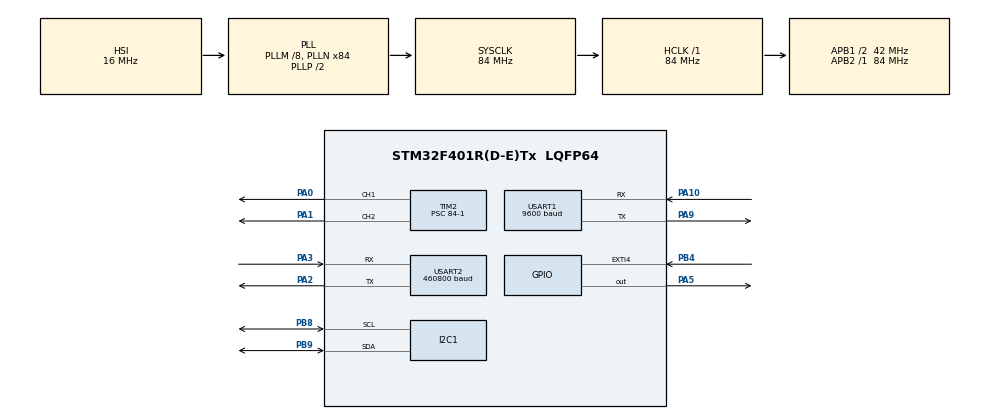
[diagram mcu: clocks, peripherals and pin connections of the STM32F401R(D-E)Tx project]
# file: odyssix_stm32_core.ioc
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Dma.Request0=USART1_RX
Dma.Request1=USART1_TX
Dma.Request2=USART2_RX
Dma.USART1_RX.0.Direction=DMA_PERIPH_TO_MEMORY
Dma.USART1_RX.0.FIFOMode=DMA_FIFOMODE_DISABLE
Dma.USART1_RX.0.Instance=DMA2_Stream2
Dma.USART1_RX.0.MemDataAlignment=DMA_MDATAALIGN_BYTE
Dma.USART1_RX.0.MemInc=DMA_MINC_ENABLE
Dma.USART1_RX.0.Mode=DMA_CIRCULAR
Dma.USART1_RX.0.PeriphDataAlignment=DMA_PDATAALIGN_BYTE
Dma.USART1_RX.0.PeriphInc=DMA_PINC_DISABLE
Dma.USART1_RX.0.Priority=DMA_PRIORITY_LOW
Dma.USART1_TX.1.Direction=DMA_MEMORY_TO_PERIPH
Dma.USART1_TX.1.FIFOMode=DMA_FIFOMODE_DISABLE
Dma.USART1_TX.1.Instance=DMA2_Stream7
Dma.USART1_TX.1.MemDataAlignment=DMA_MDATAALIGN_BYTE
Dma.USART1_TX.1.MemInc=DMA_MINC_ENABLE
Dma.USART1_TX.1.Mode=DMA_NORMAL
Dma.USART1_TX.1.PeriphDataAlignment=DMA_PDATAALIGN_BYTE
Dma.USART1_TX.1.PeriphInc=DMA_PINC_DISABLE
Dma.USART1_TX.1.Priority=DMA_PRIORITY_LOW
Dma.USART2_RX.2.Direction=DMA_PERIPH_TO_MEMORY
Dma.USART2_RX.2.FIFOMode=DMA_FIFOMODE_DISABLE
Dma.USART2_RX.2.Instance=DMA1_Stream5
Dma.USART2_RX.2.MemDataAlignment=DMA_MDATAALIGN_BYTE
Dma.USART2_RX.2.MemInc=DMA_MINC_ENABLE
Dma.USART2_RX.2.Mode=DMA_CIRCULAR
Dma.USART2_RX.2.PeriphDataAlignment=DMA_PDATAALIGN_BYTE
Dma.USART2_RX.2.PeriphInc=DMA_PINC_DISABLE
Dma.USART2_RX.2.Priority=DMA_PRIORITY_LOW
FREERTOS.Tasks01=microROSTask,24,3000,StartDefaultTask,Default,NULL,Dynamic,NULL,NULL
FREERTOS.configTOTAL_HEAP_SIZE=32000
I2C1.I2C_Mode=I2C_Fast
Mcu.Family=STM32F4
Mcu.Name=STM32F401R(D-E)Tx
Mcu.Package=LQFP64
NVIC.DMA1_Stream5_IRQn=true\:5\:0\:false\:false\:true\:true\:false\:true\:true
NVIC.DMA2_Stream2_IRQn=true\:5\:0\:false\:false\:true\:true\:false\:true\:true
NVIC.DMA2_Stream7_IRQn=true\:5\:0\:false\:false\:true\:true\:false\:true\:true
NVIC.EXTI4_IRQn=true\:5\:0\:false\:false\:true\:true\:true\:true\:true
NVIC.PriorityGroup=NVIC_PRIORITYGROUP_4
NVIC.TIM1_UP_TIM10_IRQn=true\:15\:0\:false\:false\:true\:false\:false\:true\:true
NVIC.TimeBase=TIM1_UP_TIM10_IRQn
NVIC.TimeBaseIP=TIM1
NVIC.USART1_IRQn=true\:5\:0\:false\:false\:true\:true\:true\:true\:true
NVIC.USART2_IRQn=true\:5\:0\:false\:false\:true\:true\:true\:true\:true
PA0-WKUP.Signal=S_TIM2_CH1_ETR
PA1.Signal=S_TIM2_CH2
PA10.Mode=Asynchronous
PA10.Signal=USART1_RX
PA2.Mode=Asynchronous
PA2.Signal=USART2_TX
PA3.Mode=Asynchronous
PA3.Signal=USART2_RX
PA5.Signal=GPIO_Output
PA9.Mode=Asynchronous
PA9.Signal=USART1_TX
PB4.GPIO_ModeDefaultEXTI=GPIO_MODE_IT_FALLING
PB4.GPIO_PuPd=GPIO_PULLUP
PB4.Signal=GPXTI4
PB8.Mode=I2C
PB8.Signal=I2C1_SCL
PB9.Mode=I2C
PB9.Signal=I2C1_SDA
ProjectManager.HeapSize=0x200
ProjectManager.StackSize=0x400
ProjectManager.TargetToolchain=STM32CubeIDE
RCC.48MHZClocksFreq_Value=42000000
RCC.AHBFreq_Value=84000000
RCC.APB1CLKDivider=RCC_HCLK_DIV2
RCC.APB1Freq_Value=42000000
RCC.APB1TimFreq_Value=84000000
RCC.APB2Freq_Value=84000000
RCC.APB2TimFreq_Value=84000000
RCC.CortexFreq_Value=84000000
RCC.HCLKFreq_Value=84000000
RCC.HSE_VALUE=25000000
RCC.HSI_VALUE=16000000
RCC.LSE_VALUE=32768
RCC.PLLM=8
RCC.PLLN=84
RCC.SYSCLKFreq_VALUE=84000000
RCC.SYSCLKSource=RCC_SYSCLKSOURCE_PLLCLK
RCC.VCOOutputFreq_Value=168000000
SH.S_TIM2_CH1_ETR.0=TIM2_CH1,PWM Generation1 CH1
SH.S_TIM2_CH2.0=TIM2_CH2,PWM Generation2 CH2
TIM2.Channel-PWM\ Generation1\ CH1=TIM_CHANNEL_1
TIM2.Channel-PWM\ Generation2\ CH2=TIM_CHANNEL_2
TIM2.Period=20000-1
TIM2.Prescaler=84-1
USART1.BaudRate=9600
USART1.VirtualMode=VM_ASYNC
USART2.BaudRate=460800
USART2.VirtualMode=VM_ASYNC
VP_FREERTOS_VS_CMSIS_V2.Mode=CMSIS_V2
VP_SYS_VS_tim1.Mode=TIM1
VP_TIM2_VS_ClockSourceINT.Mode=Internal
board=custom

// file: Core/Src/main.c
/* USER CODE BEGIN Header */
/**
  ******************************************************************************
  * @file           : main.c
  * @brief          : Main program body
  ******************************************************************************
  * @attention
  *
  * Copyright (c) 2026 STMicroelectronics.
  * All rights reserved.
  ******************************************************************************
  */
/* USER CODE END Header */
#include "main.h"
#include "cmsis_os.h"
#include "dma.h"
#include "i2c.h"
#include "tim.h"
#include "usart.h"
#include "gpio.h"

void SystemClock_Config(void);
void MX_FREERTOS_Init(void);

/* USER CODE BEGIN 0 */

/* Direct-register IWDG init / refresh.
 *
 * IWDG infrastructure is retained but DISABLED at boot — the call to
 * IWDG_Init_Direct() is intentionally commented out below. The watchdog
 * will be re-armed in a follow-up commit only after PA5 heartbeat AND
 * a successful XRCE-DDS handshake have been visually confirmed.
 *
 * IWDG_Refresh_Direct() is exported (not static) and called from
 * freertos.c. While IWDG is disabled, refresh writes to KR are
 * harmless no-ops — they only become live once IWDG_Init_Direct()
 * has issued the 0x5555 / 0xCCCC start sequence.
 *
 * Timing (LSI ~32 kHz nominal, ±10% across temperature):
 *   prescaler /32  ->  1 ms tick
 *   reload  2000   ->  2.0 s timeout
 */
#define IWDG_KEY_UNLOCK   0x5555u
#define IWDG_KEY_RELOAD   0xAAAAu
#define IWDG_KEY_START    0xCCCCu
#define IWDG_PR_DIV32     3u
#define IWDG_RLR_2000MS   2000u

__attribute__((unused))
static void IWDG_Init_Direct(void)
{
  IWDG->KR  = IWDG_KEY_UNLOCK;
  IWDG->PR  = IWDG_PR_DIV32;
  IWDG->RLR = IWDG_RLR_2000MS;
  while (IWDG->SR != 0u) { /* wait for prescaler/reload to latch */ }
  IWDG->KR  = IWDG_KEY_RELOAD;
  IWDG->KR  = IWDG_KEY_START;
}

void IWDG_Refresh_Direct(void)
{
  IWDG->KR = IWDG_KEY_RELOAD;
}

/* USER CODE END 0 */

int main(void)
{

  /* MCU Configuration--------------------------------------------------------*/

  /* Reset of all peripherals, Initializes the Flash interface and the Systick. */
  HAL_Init();

  /* Configure the system clock */
  SystemClock_Config();

  /* Initialize all configured peripherals */
  MX_GPIO_Init();
  MX_DMA_Init();
  MX_I2C1_Init();
  MX_TIM2_Init();
  MX_USART1_UART_Init();
  MX_USART2_UART_Init();
  /* USER CODE BEGIN 2 */

  /* IWDG INTENTIONALLY DISABLED at boot.
   * Re-arm by uncommenting the line below ONLY after on-bench verification
   * of (a) PA5 2 Hz heartbeat and (b) XRCE-DDS session establishment.
   *
   * IWDG_Init_Direct();
   */

  /* USER CODE END 2 */

  /* Init scheduler */
  osKernelInitialize();

  /* Call init function for freertos objects (in cmsis_os2.c) */
  MX_FREERTOS_Init();

  /* Start scheduler */
  osKernelStart();

  /* We should never get here as control is now taken by the scheduler */

  /* Infinite loop */
  while (1)
  {

  }
}

void SystemClock_Config(void)
{
  RCC_OscInitTypeDef RCC_OscInitStruct = {0};
  RCC_ClkInitTypeDef RCC_ClkInitStruct = {0};

  /** Configure the main internal regulator output voltage
  */
  __HAL_RCC_PWR_CLK_ENABLE();
  __HAL_PWR_VOLTAGESCALING_CONFIG(PWR_REGULATOR_VOLTAGE_SCALE2);

  /** Initializes the RCC Oscillators according to the specified parameters
  * in the RCC_OscInitTypeDef structure.
  */
  RCC_OscInitStruct.OscillatorType = RCC_OSCILLATORTYPE_HSI;
  RCC_OscInitStruct.HSIState = RCC_HSI_ON;
  RCC_OscInitStruct.HSICalibrationValue = RCC_HSICALIBRATION_DEFAULT;
  RCC_OscInitStruct.PLL.PLLState = RCC_PLL_ON;
  RCC_OscInitStruct.PLL.PLLSource = RCC_PLLSOURCE_HSI;
  RCC_OscInitStruct.PLL.PLLM = 8;
  RCC_OscInitStruct.PLL.PLLN = 84;
  RCC_OscInitStruct.PLL.PLLP = RCC_PLLP_DIV2;
  RCC_OscInitStruct.PLL.PLLQ = 4;
  if (HAL_RCC_OscConfig(&RCC_OscInitStruct) != HAL_OK)
  {
    Error_Handler();
  }

  /** Initializes the CPU, AHB and APB buses clocks
  */
  RCC_ClkInitStruct.ClockType = RCC_CLOCKTYPE_HCLK|RCC_CLOCKTYPE_SYSCLK
                              |RCC_CLOCKTYPE_PCLK1|RCC_CLOCKTYPE_PCLK2;
  RCC_ClkInitStruct.SYSCLKSource = RCC_SYSCLKSOURCE_PLLCLK;
  RCC_ClkInitStruct.AHBCLKDivider = RCC_SYSCLK_DIV1;
  RCC_ClkInitStruct.APB1CLKDivider = RCC_HCLK_DIV2;
  RCC_ClkInitStruct.APB2CLKDivider = RCC_HCLK_DIV1;

  if (HAL_RCC_ClockConfig(&RCC_ClkInitStruct, FLASH_LATENCY_2) != HAL_OK)
  {
    Error_Handler();
  }
}

void HAL_TIM_PeriodElapsedCallback(TIM_HandleTypeDef *htim)
{
  if (htim->Instance == TIM1) {
    HAL_IncTick();
  }
}

void Error_Handler(void)
{
  __disable_irq();
  while (1)
  {
  }
}

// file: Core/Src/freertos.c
/* USER CODE BEGIN Header */
/**
  ******************************************************************************
  * File Name          : freertos.c
  * Description        : Code for freertos applications
  ******************************************************************************
  */
/* USER CODE END Header */

#include "FreeRTOS.h"
#include "task.h"
#include "main.h"
#include "cmsis_os.h"

/* USER CODE BEGIN Includes */
#include <rcl/rcl.h>
#include <rcl/error_handling.h>
#include <rclc/rclc.h>
#include <rclc/executor.h>
#include <uxr/client/transport.h>
#include <rmw_microxrcedds_c/config.h>
#include <rmw_microros/rmw_microros.h>
#include <sensor_msgs/msg/imu.h>
#include <bfmc_msgs/msg/control_command.h>
#include <rosidl_runtime_c/string_functions.h>

#include <string.h>
#include <math.h>

#include "usart.h"
#include "i2c.h"
#include "tim.h"
#include "bno085.h"
/* USER CODE END Includes */

/* USER CODE BEGIN Variables */
static BNO085_Handle_t bno085;
static bfmc_msgs__msg__ControlCommand target_cmd;
static volatile int64_t last_cmd_time_ns = 0;
/* USER CODE END Variables */
/* Definitions for microROSTask */
osThreadId_t microROSTaskHandle;
const osThreadAttr_t microROSTask_attributes = {
  .name = "microROSTask",
  .stack_size = 3000 * 4,
  .priority = (osPriority_t) osPriorityNormal,
};

/* USER CODE BEGIN FunctionPrototypes */
bool   cubemx_transport_open(struct uxrCustomTransport *transport);
bool   cubemx_transport_close(struct uxrCustomTransport *transport);
size_t cubemx_transport_write(struct uxrCustomTransport *transport, const uint8_t *buf, size_t len, uint8_t *err);
size_t cubemx_transport_read(struct uxrCustomTransport *transport, uint8_t *buf, size_t len, int timeout, uint8_t *err);

void *microros_allocate(size_t size, void *state);
void  microros_deallocate(void *pointer, void *state);
void *microros_reallocate(void *pointer, size_t size, void *state);
void *microros_zero_allocate(size_t number_of_elements, size_t size_of_element, void *state);

static void control_cmd_callback(const void *msgin);

static uint32_t steer_angle_to_pwm(float angle_rad)
{
  int32_t pwm = 1500 - (int32_t)(angle_rad * 1000.0f);
  if (pwm < 1000) pwm = 1000;
  if (pwm > 2000) pwm = 2000;
  return (uint32_t)pwm;
}
/* USER CODE END FunctionPrototypes */

void StartDefaultTask(void *argument);

void MX_FREERTOS_Init(void); /* (MISRA C 2004 rule 8.1) */

void MX_FREERTOS_Init(void) {

  /* Create the thread(s) */
  microROSTaskHandle = osThreadNew(StartDefaultTask, NULL, &microROSTask_attributes);

}

void StartDefaultTask(void *argument)
{
  /* USER CODE BEGIN StartDefaultTask */
  (void)argument;

  /* -------------------------------------------------------------- */
  /* 1. Initialize sensors BEFORE micro-ROS to prevent session
   *    timeout while the BNO085 settles. Golden baseline order.
   * -------------------------------------------------------------- */
  BNO085_Init(&bno085, &hi2c1);
  /* ROTATION_VECTOR (0x05): 9-DoF fusion (accel + gyro + magnetometer).
   * Provides an absolute heading reference and per-frame accuracy
   * estimate (Q12 radians). The Jetson autonomy stack expects this on
   * /microros/imu_raw; do NOT swap back to GRV without coordinating
   * with the EKF/vision yaw weights on the Jetson side.
   *
   * 14-B payload per report — still fits inside the 128-B SHTP cargo
   * with accel + gyro batched. The 0x05 branch in BNO085_ParseInputReport
   * extracts the accuracy field. */
  BNO085_EnableReport(&bno085, BNO085_REPORT_ROTATION_VECTOR, 10000);
  osDelay(10);
  BNO085_EnableReport(&bno085, BNO085_REPORT_ACCELEROMETER,   10000);
  osDelay(10);
  BNO085_EnableReport(&bno085, BNO085_REPORT_GYROSCOPE,       10000);
  osDelay(10);

  /* URM37 purge (controlled): driver source absent, hardware DMA
   * remains initialized in usart.c but never started. No runtime cost. */

  /* -------------------------------------------------------------- */
  /* 2. Setup UART transport (it_transport.c).                      */
  /* -------------------------------------------------------------- */
  rmw_uros_set_custom_transport(true, (void *) &huart2,
                                cubemx_transport_open,
                                cubemx_transport_close,
                                cubemx_transport_write,
                                cubemx_transport_read);

  /* -------------------------------------------------------------- */
  /* 3. FreeRTOS-backed micro-ROS allocator.                        */
  /* -------------------------------------------------------------- */
  rcl_allocator_t freeRTOS_allocator = rcutils_get_zero_initialized_allocator();
  freeRTOS_allocator.allocate      = microros_allocate;
  freeRTOS_allocator.deallocate    = microros_deallocate;
  freeRTOS_allocator.reallocate    = microros_reallocate;
  freeRTOS_allocator.zero_allocate = microros_zero_allocate;

  if (!rcutils_set_default_allocator(&freeRTOS_allocator)) {
    osDelay(1000); NVIC_SystemReset();
  }

  /* -------------------------------------------------------------- */
  /* 4. Patient handshake.                                           */
  /* -------------------------------------------------------------- */
  while (rmw_uros_ping_agent(100, 1) != RMW_RET_OK) {
    osDelay(100);
  }

  rmw_uros_sync_session(1000);

  /* -------------------------------------------------------------- */
  /* 5. micro-ROS entity construction.                              */
  /* -------------------------------------------------------------- */
  rcl_publisher_t       imu_publisher;
  rcl_subscription_t    cmd_subscriber;
  sensor_msgs__msg__Imu imu_msg;
  rclc_support_t        support;
  rcl_allocator_t       allocator;
  rcl_node_t            node;
  rclc_executor_t       executor;

  allocator = rcl_get_default_allocator();

  rcl_init_options_t init_options = rcl_get_zero_initialized_init_options();
  rcl_init_options_init(&init_options, allocator);
  rcl_init_options_set_domain_id(&init_options, 42);

  if (rclc_support_init_with_options(&support, 0, NULL, &init_options, &allocator) != RCL_RET_OK) {
    osDelay(1000); NVIC_SystemReset();
  }

  if (rclc_node_init_default(&node, "odyssix_imu_node", "", &support) != RCL_RET_OK) {
    osDelay(1000); NVIC_SystemReset();
  }

  if (rclc_publisher_init_default(
        &imu_publisher, &node,
        ROSIDL_GET_MSG_TYPE_SUPPORT(sensor_msgs, msg, Imu),
        "/microros/imu_raw") != RCL_RET_OK) {
    osDelay(1000); NVIC_SystemReset();
  }

  if (rclc_executor_init(&executor, &support.context, 1, &allocator) != RCL_RET_OK) {
    osDelay(1000); NVIC_SystemReset();
  }

  if (rclc_subscription_init_default(
        &cmd_subscriber, &node,
        ROSIDL_GET_MSG_TYPE_SUPPORT(bfmc_msgs, msg, ControlCommand),
        "/control/command") != RCL_RET_OK) {
    osDelay(1000); NVIC_SystemReset();
  }

  bfmc_msgs__msg__ControlCommand__init(&target_cmd);

  if (rclc_executor_add_subscription(
        &executor, &cmd_subscriber, &target_cmd,
        &control_cmd_callback, ON_NEW_DATA) != RCL_RET_OK) {
    osDelay(1000); NVIC_SystemReset();
  }

  HAL_TIM_PWM_Start(&htim2, TIM_CHANNEL_1);
  HAL_TIM_PWM_Start(&htim2, TIM_CHANNEL_2);

  /* Park ESC and steering at neutral until first command arrives. */
  TIM2->CCR1 = 1500u;
  TIM2->CCR2 = 1500u;

  /* -------------------------------------------------------------- */
  /* 6. ROS 2 message structures.                                   */
  /* -------------------------------------------------------------- */
  sensor_msgs__msg__Imu__init(&imu_msg);
  rosidl_runtime_c__String__assign(&imu_msg.header.frame_id, "imu_link");

  /* Diagonal covariance — tuned for BNO085 fused outputs against a
   * robot_localization EKF. Indices 0/4/8 are the (i,i) diagonal of
   * the row-major 3x3 flattened to 9 elements. Off-diagonals stay
   * zero (no cross-axis correlation assumption). */
  memset(imu_msg.orientation_covariance,         0, sizeof(imu_msg.orientation_covariance));
  memset(imu_msg.angular_velocity_covariance,    0, sizeof(imu_msg.angular_velocity_covariance));
  memset(imu_msg.linear_acceleration_covariance, 0, sizeof(imu_msg.linear_acceleration_covariance));

  /* Roll/pitch stay tight (accel-gravity reference anchors them on the
   * Rotation Vector). Yaw is bumped to reflect the magnetometer-aided
   * Rotation Vector's residual drift under indoor magnetic disturbance
   * and BLDC vibration. The Jetson-side vision pipeline corrects yaw
   * via lane/sign/intersection relocalization; the looser covariance
   * lets robot_localization weight visual yaw appropriately. */
  imu_msg.orientation_covariance[0]         = 0.001;     /* roll  (rad^2) */
  imu_msg.orientation_covariance[4]         = 0.001;     /* pitch (rad^2) */
  imu_msg.orientation_covariance[8]         = 0.01;      /* yaw   (rad^2, RV residual drift) */

  imu_msg.angular_velocity_covariance[0]    = 2.19e-6;   /* (rad/s)^2 */
  imu_msg.angular_velocity_covariance[4]    = 2.19e-6;
  imu_msg.angular_velocity_covariance[8]    = 2.19e-6;

  imu_msg.linear_acceleration_covariance[0] = 0.004;     /* (m/s^2)^2 */
  imu_msg.linear_acceleration_covariance[4] = 0.004;
  imu_msg.linear_acceleration_covariance[8] = 0.004;

  /* Identity-quaternion default so the FIRST publish carries a sane
   * orientation even before the BNO085 sends its first packet. */
  imu_msg.orientation.x = 0.0; imu_msg.orientation.y = 0.0;
  imu_msg.orientation.z = 0.0; imu_msg.orientation.w = 1.0;

  /* -------------------------------------------------------------- */
  /* 6b. Power-up zeroing — 2 s blocking.                            */
  /*                                                                  */
  /* Runs AFTER micro-ROS sync (so the XRCE session is alive) and    */
  /* BEFORE the while(1) (so the first publish already carries the   */
  /* zeroed frame). Vehicle is parked at PWM neutral throughout, and */
  /* the deadman is still latched at last_cmd_time_ns == 0.          */
  /*                                                                  */
  /* The mean accel offset includes gravity, by design: we want the  */
  /* publish frame to read [0,0,0] at rest. The Jetson EKF tuning    */
  /* assumes this — do NOT switch the accel report to LINEAR_ACCEL   */
  /* without also retuning the offset semantics on the Jetson side.  */
  /* -------------------------------------------------------------- */
  BNO085_PerformStartupCalibration(&bno085);

  /* -------------------------------------------------------------- */
  /* 7. Main loop — golden topology.                                 */
  /* -------------------------------------------------------------- */
  for (;;)
  {
    static uint32_t sync_tick     = 0u;
    static uint32_t imu_err_count = 0u;
    static uint32_t led_tick      = 0u;

    /* Executor stays at fast cadence (~1 kHz) — IMU publish does NOT. */
    rclc_executor_spin_some(&executor, 0);

    /* Continuous clock re-sync every ~1 s (1000 loop iterations). */
    if (++sync_tick >= 1000u) {
      sync_tick = 0u;
      rmw_uros_sync_session(10);
    }

    int64_t time_ns = rmw_uros_epoch_nanos();

    /* ---------------------------------------------------------------- *
     * Race-condition-free SHTP read gate.                              *
     * ---------------------------------------------------------------- *
     * The BNO085 INTN pin is open-drain active-LOW. If a new packet    *
     * becomes ready while I2C is in the middle of reading the previous *
     * one, INTN remains LOW continuously — and the falling-edge EXTI   *
     * generates NO additional edge for the second packet. A flag-only  *
     * gate would then stall this loop until something else trips the   *
     * line, halting IMU output entirely.                               *
     *                                                                  *
     * The fix is a two-condition trigger:                              *
     *   - flag set  → an edge fired since last service                 *
     *   - pin LOW   → a packet is physically pending right now,        *
     *                 even if no fresh edge fired                      *
     *                                                                  *
     * The flag is cleared IMMEDIATELY BEFORE BNO085_GetData so any     *
     * mid-read re-assert produces a brand-new falling edge that the    *
     * ISR latches for the very next loop tick. This guarantees         *
     * continuous 100 Hz acquisition.                                   *
     * ---------------------------------------------------------------- */
    if (bno085_int_flag ||
        HAL_GPIO_ReadPin(GPIOB, GPIO_PIN_4) == GPIO_PIN_RESET) {
      bno085_int_flag = false;   /* clear BEFORE the read */

      HAL_StatusTypeDef imu_status = BNO085_GetData(&bno085);
      if (imu_status == HAL_OK) {
        imu_err_count = 0u;
      } else if (++imu_err_count >= 50u) {
        imu_err_count = 0u;
        /* Auto-recovery: re-init and re-enable the same 9-DoF config.
         * Calibration is NOT re-run — the original power-up offsets stay
         * authoritative. Re-zeroing mid-run would let post-recovery
         * tilt/orientation leak into the published frame. */
        BNO085_Init(&bno085, &hi2c1);
        BNO085_EnableReport(&bno085, BNO085_REPORT_ROTATION_VECTOR, 10000);
        BNO085_EnableReport(&bno085, BNO085_REPORT_ACCELEROMETER,   10000);
        BNO085_EnableReport(&bno085, BNO085_REPORT_GYROSCOPE,       10000);
        bno085_int_flag = false;
      }
    }

    /* ---------------------------------------------------------------- *
     * Hardware-readiness publish gate — software rate limiter removed. *
     * ---------------------------------------------------------------- *
     * data_valid is the single source of truth: set TRUE by the SH-2   *
     * parser when a fresh batch is decoded, cleared FALSE here after   *
     * publishing. The BNO085 itself paces the loop at its configured   *
     * 100 Hz report rate; layering a software 10 ms gate on top caused *
     * packet loss whenever sensor jitter pushed two reports into one   *
     * tick window and forced one to be dropped. The unified gate also  *
     * removes the negative-epoch rollback branch — there is no longer  *
     * any time arithmetic that could turn negative.                    *
     * ---------------------------------------------------------------- */
    if (bno085.data.data_valid) {
      imu_msg.header.stamp.sec     = (int32_t)(time_ns / 1000000000LL);
      imu_msg.header.stamp.nanosec = (uint32_t)(time_ns % 1000000000LL);

      /* --- Hot-path zeroing: all heavy work (mean, conjugate) was paid
       * for once in BNO085_PerformStartupCalibration. If calibration was
       * skipped or failed, calib.offsets are zero and the baseline
       * quaternion inverse is identity, so this block reduces to a
       * pass-through. */
      float q_pub_i, q_pub_j, q_pub_k, q_pub_r;
      BNO085_QuatMultiply(
        bno085.calib.baseline_quat_inv_i,
        bno085.calib.baseline_quat_inv_j,
        bno085.calib.baseline_quat_inv_k,
        bno085.calib.baseline_quat_inv_real,
        bno085.data.quat_i,
        bno085.data.quat_j,
        bno085.data.quat_k,
        bno085.data.quat_real,
        &q_pub_i, &q_pub_j, &q_pub_k, &q_pub_r);

      /* ---------------------------------------------------------------- *
       * Enforce unit-norm before publish.                                *
       * ---------------------------------------------------------------- *
       * 32-bit float Hamilton products accumulate ~1e-7 per multiply, so *
       * the output magnitude drifts a few ULPs off 1.0. Even w = 1.0 +   *
       * 2e-7 makes the Jetson EKF's acos(w) return NaN, which cascades   *
       * through the whole filter. Normalize defensively. Single sqrtf +  *
       * four multiplies; the FPU eats this in ~12 cycles. The 1e-6 floor *
       * is a NaN guard in case both inputs degenerate to zero (e.g. an   *
       * un-calibrated frame against an identity baseline_inv at boot).   *
       * ---------------------------------------------------------------- */
      float q_mag = sqrtf(q_pub_i * q_pub_i +
                          q_pub_j * q_pub_j +
                          q_pub_k * q_pub_k +
                          q_pub_r * q_pub_r);
      if (q_mag > 0.000001f) {
        float inv_mag = 1.0f / q_mag;
        q_pub_i *= inv_mag;
        q_pub_j *= inv_mag;
        q_pub_k *= inv_mag;
        q_pub_r *= inv_mag;
      }

      imu_msg.orientation.x = (double)q_pub_i;
      imu_msg.orientation.y = (double)q_pub_j;
      imu_msg.orientation.z = (double)q_pub_k;
      imu_msg.orientation.w = (double)q_pub_r;

      imu_msg.linear_acceleration.x = (double)(bno085.data.lin_accel_x - bno085.calib.offset_accel_x);
      imu_msg.linear_acceleration.y = (double)(bno085.data.lin_accel_y - bno085.calib.offset_accel_y);
      /* offset_accel_z is zeroed in BNO085_PerformStartupCalibration, so
       * this subtract leaves gravity (~9.81 m/s²) intact for the EKF. */
      imu_msg.linear_acceleration.z = (double)(bno085.data.lin_accel_z - bno085.calib.offset_accel_z);

      imu_msg.angular_velocity.x = (double)(bno085.data.gyro_x - bno085.calib.offset_gyro_x);
      imu_msg.angular_velocity.y = (double)(bno085.data.gyro_y - bno085.calib.offset_gyro_y);
      imu_msg.angular_velocity.z = (double)(bno085.data.gyro_z - bno085.calib.offset_gyro_z);

      (void)rcl_publish(&imu_publisher, &imu_msg, NULL);

      bno085.data.data_valid = false;   /* consume the frame */
    }

    /* PA5 heartbeat — golden cadence: every 50 ticks @ osDelay(1) = 10 Hz LED. */
    if (++led_tick >= 50u) {
      led_tick = 0u;
      HAL_GPIO_TogglePin(GPIOA, GPIO_PIN_5);
    }

    /* Actuation: deadman + PWM drive. 500 ms timeout to neutrals. */
    {
      int64_t age_ns = time_ns - last_cmd_time_ns;
      if (last_cmd_time_ns == 0 || age_ns > 500000000LL) {
        TIM2->CCR1 = 1500u;
        TIM2->CCR2 = 1500u;
      } else {
        TIM2->CCR1 = steer_angle_to_pwm(target_cmd.steering_angle);

        uint32_t esc_pwm;
        if (target_cmd.throttle > 0.0f) {
          int32_t v = 1443 - (int32_t)(target_cmd.throttle * 443.0f);
          if (v < 1000) v = 1000;
          esc_pwm = (uint32_t)v;
        } else if (target_cmd.brake > 0.0f) {
          int32_t v = 1527 + (int32_t)(target_cmd.brake * 473.0f);
          if (v > 2000) v = 2000;
          esc_pwm = (uint32_t)v;
        } else {
          esc_pwm = 1500u;
        }
        TIM2->CCR2 = esc_pwm;
      }
    }

    osDelay(1);
  }
  /* USER CODE END StartDefaultTask */
}

/* USER CODE BEGIN Application */
static void control_cmd_callback(const void *msgin)
{
  const bfmc_msgs__msg__ControlCommand *msg =
      (const bfmc_msgs__msg__ControlCommand *)msgin;

  target_cmd.steering_angle = msg->steering_angle;
  target_cmd.throttle       = msg->throttle;
  target_cmd.brake          = msg->brake;
  last_cmd_time_ns          = rmw_uros_epoch_nanos();
}
/* USER CODE END Application */
